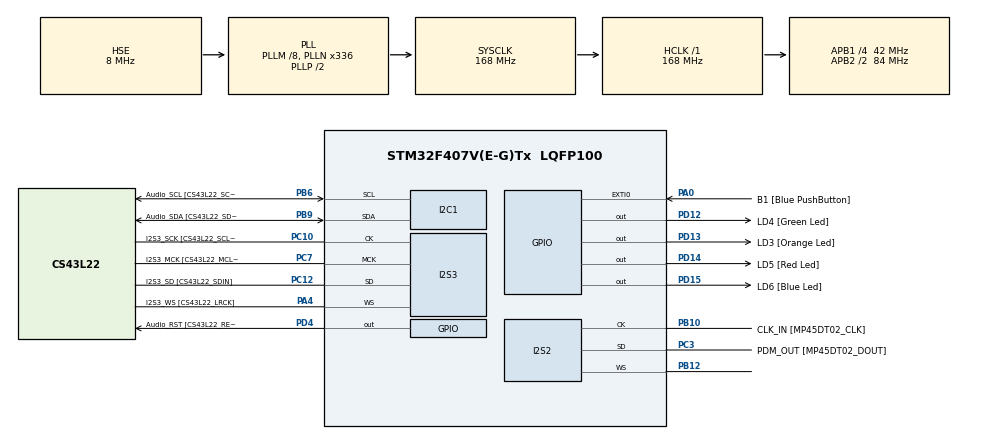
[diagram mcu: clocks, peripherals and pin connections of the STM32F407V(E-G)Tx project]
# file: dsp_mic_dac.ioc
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Dma.Request0=SPI3_TX
Dma.Request1=SPI2_RX
Dma.SPI2_RX.1.Direction=DMA_PERIPH_TO_MEMORY
Dma.SPI2_RX.1.FIFOMode=DMA_FIFOMODE_DISABLE
Dma.SPI2_RX.1.Instance=DMA1_Stream3
Dma.SPI2_RX.1.MemDataAlignment=DMA_MDATAALIGN_HALFWORD
Dma.SPI2_RX.1.MemInc=DMA_MINC_ENABLE
Dma.SPI2_RX.1.Mode=DMA_CIRCULAR
Dma.SPI2_RX.1.PeriphDataAlignment=DMA_PDATAALIGN_HALFWORD
Dma.SPI2_RX.1.PeriphInc=DMA_PINC_DISABLE
Dma.SPI2_RX.1.Priority=DMA_PRIORITY_HIGH
Dma.SPI3_TX.0.Direction=DMA_MEMORY_TO_PERIPH
Dma.SPI3_TX.0.FIFOMode=DMA_FIFOMODE_DISABLE
Dma.SPI3_TX.0.Instance=DMA1_Stream5
Dma.SPI3_TX.0.MemDataAlignment=DMA_MDATAALIGN_HALFWORD
Dma.SPI3_TX.0.MemInc=DMA_MINC_ENABLE
Dma.SPI3_TX.0.Mode=DMA_CIRCULAR
Dma.SPI3_TX.0.PeriphDataAlignment=DMA_PDATAALIGN_HALFWORD
Dma.SPI3_TX.0.PeriphInc=DMA_PINC_DISABLE
Dma.SPI3_TX.0.Priority=DMA_PRIORITY_LOW
I2S2.AudioFreq=I2S_AUDIOFREQ_48K
I2S2.CPOL=I2S_CPOL_LOW
I2S2.DataFormat=I2S_DATAFORMAT_16B
I2S2.ErrorAudioFreq=-0.79 %
I2S2.FullDuplexMode=I2S_FULLDUPLEXMODE_DISABLE
I2S2.Instance=SPI$Index
I2S2.Mode=I2S_MODE_SLAVE_RX
I2S2.RealAudioFreq=47.619 KHz
I2S2.Standard=I2S_STANDARD_MSB
I2S2.VirtualMode=I2S_MODE_SLAVE
I2S3.AudioFreq=I2S_AUDIOFREQ_48K
I2S3.AudioFreq-Half_Duplex_Master=I2S_AUDIOFREQ_96K
I2S3.DataFormat=I2S_DATAFORMAT_16B
I2S3.ErrorAudioFreq=-2.34 %
I2S3.ErrorAudioFreq-Half_Duplex_Master=0.8 %
I2S3.FullDuplexMode=I2S_FULLDUPLEXMODE_DISABLE
I2S3.Instance=SPI$Index
I2S3.RealAudioFreq=46.875 KHz
I2S3.RealAudioFreq-Half_Duplex_Master=96.774 KHz
I2S3.VirtualMode=I2S_MODE_MASTER
Mcu.Family=STM32F4
Mcu.Name=STM32F407V(E-G)Tx
Mcu.Package=LQFP100
NVIC.DMA1_Stream3_IRQn=true\:0\:0\:false\:false\:true\:false\:true\:true
NVIC.DMA1_Stream5_IRQn=true\:0\:0\:false\:false\:true\:false\:true\:true
NVIC.PriorityGroup=NVIC_PRIORITYGROUP_0
PA0-WKUP.GPIO_Label=B1 [Blue PushButton]
PA0-WKUP.GPIO_ModeDefaultEXTI=GPIO_MODE_EVT_RISING
PA0-WKUP.GPIO_PuPd=GPIO_NOPULL
PA0-WKUP.Signal=GPXTI0
PA13.GPIO_Label=SWDIO
PA13.Mode=Serial_Wire
PA13.Signal=SYS_JTMS-SWDIO
PA14.GPIO_Label=SWCLK
PA14.Mode=Serial_Wire
PA14.Signal=SYS_JTCK-SWCLK
PA4.GPIO_Label=I2S3_WS [CS43L22_LRCK]
PA4.GPIO_Mode=GPIO_MODE_AF_PP
PA4.GPIO_PuPd=GPIO_NOPULL
PA4.GPIO_Speed=GPIO_SPEED_FREQ_LOW
PA4.Mode=Half_Duplex_Master
PA4.Signal=I2S3_WS
PB10.GPIO_Label=CLK_IN [MP45DT02_CLK]
PB10.GPIO_Mode=GPIO_MODE_AF_PP
PB10.GPIO_PuPd=GPIO_NOPULL
PB10.GPIO_Speed=GPIO_SPEED_FREQ_LOW
PB10.Mode=Half_Duplex_Slave
PB10.Signal=I2S2_CK
PB12.Mode=Half_Duplex_Slave
PB12.Signal=I2S2_WS
PB6.GPIO_Label=Audio_SCL [CS43L22_SCL]
PB6.GPIO_Mode=GPIO_MODE_AF_OD
PB6.GPIO_Pu=GPIO_PULLUP
PB6.GPIO_PuPd=GPIO_NOPULL
PB6.GPIO_Speed=GPIO_SPEED_FREQ_LOW
PB6.Mode=I2C
PB6.Signal=I2C1_SCL
PB9.GPIO_Label=Audio_SDA [CS43L22_SDA]
PB9.GPIO_Mode=GPIO_MODE_AF_OD
PB9.GPIO_Pu=GPIO_PULLUP
PB9.GPIO_PuPd=GPIO_NOPULL
PB9.GPIO_Speed=GPIO_SPEED_FREQ_LOW
PB9.Mode=I2C
PB9.Signal=I2C1_SDA
PC10.GPIO_Label=I2S3_SCK [CS43L22_SCLK]
PC10.GPIO_Mode=GPIO_MODE_AF_PP
PC10.GPIO_PuPd=GPIO_NOPULL
PC10.GPIO_Speed=GPIO_SPEED_FREQ_LOW
PC10.Mode=Half_Duplex_Master
PC10.Signal=I2S3_CK
PC12.GPIO_Label=I2S3_SD [CS43L22_SDIN]
PC12.GPIO_Mode=GPIO_MODE_AF_PP
PC12.GPIO_PuPd=GPIO_NOPULL
PC12.GPIO_Speed=GPIO_SPEED_FREQ_LOW
PC12.Mode=Half_Duplex_Master
PC12.Signal=I2S3_SD
PC3.GPIO_Label=PDM_OUT [MP45DT02_DOUT]
PC3.GPIO_Mode=GPIO_MODE_AF_PP
PC3.GPIO_PuPd=GPIO_NOPULL
PC3.GPIO_Speed=GPIO_SPEED_FREQ_LOW
PC3.Mode=Half_Duplex_Slave
PC3.Signal=I2S2_SD
PC7.GPIO_Label=I2S3_MCK [CS43L22_MCLK]
PC7.GPIO_Mode=GPIO_MODE_AF_PP
PC7.GPIO_PuPd=GPIO_NOPULL
PC7.GPIO_Speed=GPIO_SPEED_FREQ_LOW
PC7.Mode=Master_Clock_Activated
PC7.Signal=I2S3_MCK
PD12.GPIO_Label=LD4 [Green Led]
PD12.GPIO_PuPd=GPIO_NOPULL
PD12.GPIO_Speed=GPIO_SPEED_FREQ_LOW
PD12.Signal=GPIO_Output
PD13.GPIO_Label=LD3 [Orange Led]
PD13.GPIO_PuPd=GPIO_NOPULL
PD13.GPIO_Speed=GPIO_SPEED_FREQ_LOW
PD13.Signal=GPIO_Output
PD14.GPIO_Label=LD5 [Red Led]
PD14.GPIO_PuPd=GPIO_NOPULL
PD14.GPIO_Speed=GPIO_SPEED_FREQ_LOW
PD14.Signal=GPIO_Output
PD15.GPIO_Label=LD6 [Blue Led]
PD15.GPIO_PuPd=GPIO_NOPULL
PD15.GPIO_Speed=GPIO_SPEED_FREQ_LOW
PD15.Signal=GPIO_Output
PD4.GPIO_Label=Audio_RST [CS43L22_RESET]
PD4.GPIO_PuPd=GPIO_NOPULL
PD4.GPIO_Speed=GPIO_SPEED_FREQ_LOW
PD4.Signal=GPIO_Output
PDM2PCM.CHANNEL1_decimation_factor=PDM_FILTER_DEC_FACTOR_32
PDM2PCM.CHANNEL1_endianness=PDM_FILTER_ENDIANNESS_BE
PDM2PCM.CHANNEL1_in_ptr_channels=1
PDM2PCM.CHANNEL1_mic_gain=24
PDM2PCM.CHANNEL1_out_ptr_channels=1
PDM2PCM.CHANNEL1_output_samples_number=48
PH0-OSC_IN.GPIO_Label=PH0-OSC_IN
PH0-OSC_IN.Mode=HSE-External-Oscillator
PH0-OSC_IN.Signal=RCC_OSC_IN
PH1-OSC_OUT.GPIO_Label=PH1-OSC_OUT
PH1-OSC_OUT.Mode=HSE-External-Oscillator
PH1-OSC_OUT.Signal=RCC_OSC_OUT
ProjectManager.HeapSize=0x200
ProjectManager.StackSize=0x400
ProjectManager.TargetToolchain=STM32CubeIDE
RCC.48MHZClocksFreq_Value=48000000
RCC.AHBFreq_Value=168000000
RCC.APB1CLKDivider=RCC_HCLK_DIV4
RCC.APB1Freq_Value=42000000
RCC.APB1TimFreq_Value=84000000
RCC.APB2CLKDivider=RCC_HCLK_DIV2
RCC.APB2Freq_Value=84000000
RCC.APB2TimFreq_Value=168000000
RCC.CortexFreq_Value=168000000
RCC.HCLKFreq_Value=168000000
RCC.HSE_VALUE=8000000
RCC.HSI_VALUE=16000000
RCC.LSE_VALUE=32768
RCC.PLLM=8
RCC.PLLN=336
RCC.PLLQ=7
RCC.PLLSourceVirtual=RCC_PLLSOURCE_HSE
RCC.SYSCLKFreq_VALUE=168000000
RCC.SYSCLKSource=RCC_SYSCLKSOURCE_PLLCLK
RCC.VCOOutputFreq_Value=336000000
VP_CRC_VS_CRC.Mode=CRC_Activate
VP_PDM2PCM_VS_PDM2PCM.Mode=PDM2PCM_Channel
board=STM32F407G-DISC1

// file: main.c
/* USER CODE BEGIN Header */
/**
  ******************************************************************************
  * @file           : main.c
  * @brief          : Main program body
  ******************************************************************************
  * @attention
  *
  * Copyright (c) 2025 STMicroelectronics.
  * All rights reserved.
  *
  * This software is licensed under terms that can be found in the LICENSE file
  * in the root directory of this software component.
  * If no LICENSE file comes with this software, it is provided AS-IS.
  *
  ******************************************************************************
  */
/* USER CODE END Header */
#include "main.h"
#include "crc.h"
#include "dma.h"
#include "i2c.h"
#include "i2s.h"
#include "pdm2pcm.h"
#include "gpio.h"

/* USER CODE BEGIN Includes */
#include "fifo.h"
#include "cs43l22.h"
#include <stdio.h>
/* USER CODE END Includes */

/* USER CODE BEGIN PD */
// Audio In/Out parameters
#define AUDIO_SAMPLE_RATE		(48000UL)
#define AUDIO_DATA_SIZE			(16UL)
#define AUDIO_FRAME_SIZE		(16UL)
#define AUDIO_NUM_IN_CHANNELS	(1UL)
#define AUDIO_NUM_OUT_CHANNELS	(2UL)

// Audio PDM to PCM parameters
#define AUDIO_DECIMATION_FACTOR	(32UL)
#define AUDIO_NUM_OUT_SAMPLES	(AUDIO_SAMPLE_RATE/1000UL) // 1ms pcm data
#define AUDIO_PDM_BUFFER_SIZE	(AUDIO_NUM_OUT_SAMPLES*AUDIO_NUM_IN_CHANNELS*AUDIO_DECIMATION_FACTOR/16)
#define AUDIO_PCM_BUFFER_SIZE	(AUDIO_NUM_OUT_SAMPLES*AUDIO_NUM_OUT_CHANNELS*AUDIO_FRAME_SIZE/16)

// Audio DMA Buffers
#define AUDIO_RX_DMA_BUFSIZE	(2*AUDIO_PDM_BUFFER_SIZE)
#define AUDIO_TX_DMA_BUFSIZE	(2*AUDIO_PCM_BUFFER_SIZE)

// Internal Flags
#define AUDIO_RX_HALFCPLT_STATE	(1)
#define AUDIO_RX_FULLCPLT_STATE	(2)
#define AUDIO_TX_HALFCPLT_STATE (1)
#define AUDIO_TX_FULLCPLT_STATE	(2)
/* USER CODE END PD */

/* USER CODE BEGIN PV */
uint16_t uAudioRxDmaBuffer[AUDIO_RX_DMA_BUFSIZE];
int16_t uAudioTxDmaBuffer[AUDIO_TX_DMA_BUFSIZE];
int16_t uPcmBuffer[AUDIO_NUM_OUT_SAMPLES];
volatile uint8_t ucAudioRxDmaState = 0;	// Flag for RX DMA buffer full status
volatile uint8_t ucAudioTxDmaState = 0;	// Flag for TX DMA buffer full status
int16_t uPcmValue = 0;
/* USER CODE END PV */

void SystemClock_Config(void);
void PeriphCommonClock_Config(void);
/* USER CODE BEGIN PFP */
// To enable printf function on debugging
int _write(int file, char *ptr, int len)
{
  UNUSED(file);
  int DataIdx;

  for (DataIdx = 0; DataIdx < len; DataIdx++)
  {
    ITM_SendChar(*ptr++);
  }
  return len;
}

/*
 * This function is called when a new block of AUDIO_NUM_OUT_SAMPLES
 * PCM samples is received.
 */
void AudioProcessCallback(int16_t *micData, uint16_t numSamples)
{
	for(int n = 0; n < numSamples; n++)
	{
		uPcmValue = micData[n];
	}
}
/* USER CODE END PFP */

int main(void)
{

  /* MCU Configuration--------------------------------------------------------*/

  /* Reset of all peripherals, Initializes the Flash interface and the Systick. */
  HAL_Init();

  /* Configure the system clock */
  SystemClock_Config();

  /* Configure the peripherals common clocks */
  PeriphCommonClock_Config();

  /* Initialize all configured peripherals */
  MX_GPIO_Init();
  MX_DMA_Init();
  MX_I2C1_Init();
  MX_I2S3_Init();
  MX_I2S2_Init();
  MX_CRC_Init();
  MX_PDM2PCM_Init();
  /* USER CODE BEGIN 2 */
  // Audio Codec CS43L22 init
  if(HAL_CS43L22_Init(&hi2c1, CS43L22_MODE_I2S) != HAL_OK)
  {
	  // If error, toggle RED led on STM32F407G-DISC1
	  while(1)
	  {
		  HAL_GPIO_TogglePin(GPIOD, GPIO_PIN_14);
		  HAL_Delay(500);
	  }
  }
  HAL_CS43L22_Set_BPS(CS43L22_BPS_16_BITS);
  HAL_CS43L22_Set_Channel(CS43L22_CHANNEL_RIGHT_LEFT);
  HAL_CS43L22_Set_OutputDevice(CS43L22_OUTPUT_HEADPHONE);
  HAL_CS43L22_Set_Volume(50);
  HAL_CS43L22_Start();

  // PCM Fifo init
  int16_t PcmFifoBuffer[AUDIO_TX_DMA_BUFSIZE*2]; // At least twice the TX DMA buffer size
  Fifo_t mPcmFifo;
  FIFO_Init(&mPcmFifo, PcmFifoBuffer, AUDIO_TX_DMA_BUFSIZE*2);

  // Start I2S audio transmission(DAC)/reception(Mic) DMA service
  HAL_I2S_Transmit_DMA(&hi2s3, (uint16_t*) uAudioTxDmaBuffer, AUDIO_TX_DMA_BUFSIZE / (AUDIO_FRAME_SIZE/16UL));
  HAL_I2S_Receive_DMA(&hi2s2,  uAudioRxDmaBuffer, AUDIO_RX_DMA_BUFSIZE / (AUDIO_FRAME_SIZE/16UL));
  /* USER CODE END 2 */

  /* Infinite loop */
  /* USER CODE BEGIN WHILE */
  while (1)
  {
	  // IMP34DT05 PDM Microphone --------------------------------------------------
	  if(ucAudioRxDmaState == AUDIO_RX_HALFCPLT_STATE)
	  {
		  // Clear the flag
		  ucAudioRxDmaState = 0;

		  // Convert the first half PDM DMA buffer to PCM
		  PDM_Filter(&uAudioRxDmaBuffer[0], &uPcmBuffer[0], &PDM1_filter_handler);

		  /* Data can be processed here */
		  AudioProcessCallback(uPcmBuffer, AUDIO_NUM_OUT_SAMPLES);
		  /* -------------------------- */

		  // Store into a FIFO for transmission
		  FIFO_WriteBlock(&mPcmFifo, uPcmBuffer, AUDIO_NUM_OUT_SAMPLES);
	  }
	  if(ucAudioRxDmaState == AUDIO_RX_FULLCPLT_STATE)
	  {
		  // Clear the flag
		  ucAudioRxDmaState = 0;

		  // Convert the second half PDM DMA buffer to PCM
		  PDM_Filter(&uAudioRxDmaBuffer[AUDIO_PDM_BUFFER_SIZE], &uPcmBuffer[0], &PDM1_filter_handler);

		  /* Data can be processed here -------------------------------*/
		  AudioProcessCallback(uPcmBuffer, AUDIO_NUM_OUT_SAMPLES);
		  /* --------------------------------------------------------- */

		  // Store into a FIFO for transmission
		  FIFO_WriteBlock(&mPcmFifo, uPcmBuffer, AUDIO_NUM_OUT_SAMPLES);
	  }

	  // CS43L22 DAC Codec --------------------------------------------
	  if(ucAudioTxDmaState == AUDIO_TX_HALFCPLT_STATE)
	  {
		  // Clear the flag
		  ucAudioTxDmaState = 0;

		  // Check if there is at least a full PCM output buffer
		  if(mPcmFifo.numel >= AUDIO_PCM_BUFFER_SIZE)
		  {
			  for (int i = 0; i < AUDIO_PCM_BUFFER_SIZE; i=i+(2*AUDIO_FRAME_SIZE/16))
			  {
				// Read data from the FIFO
				int16_t value = 0;
				FIFO_Read(&mPcmFifo, &value);

				// Duplicate output channel for stereo sound
				uAudioTxDmaBuffer[i] = value;							// Right channel
				uAudioTxDmaBuffer[i + (AUDIO_FRAME_SIZE/16)] = value;	// Left channel
			 }
		  }
	  }
	  if(ucAudioTxDmaState == AUDIO_TX_FULLCPLT_STATE)
	  {
		  // Clear the flag
		  ucAudioTxDmaState = 0;

		  // Check if there is at least a full PCM output buffer
		  if(mPcmFifo.numel >= AUDIO_PCM_BUFFER_SIZE)
		  {
			  for (int i=AUDIO_PCM_BUFFER_SIZE; i < 2*AUDIO_PCM_BUFFER_SIZE; i=i+(2*AUDIO_FRAME_SIZE/16))
			  {
				  // Read data from the FIFO
				  int16_t value = 0;
				  FIFO_Read(&mPcmFifo, &value);

				  // Duplicate output channel for stereo sound
				  uAudioTxDmaBuffer[i] = value;							// Right channel
				  uAudioTxDmaBuffer[i + (AUDIO_FRAME_SIZE/16)] = value;	// Left channel
			  }
		  }
	  }
    /* USER CODE END WHILE */

  }
}

void SystemClock_Config(void)
{
  RCC_OscInitTypeDef RCC_OscInitStruct = {0};
  RCC_ClkInitTypeDef RCC_ClkInitStruct = {0};

  /** Configure the main internal regulator output voltage
  */
  __HAL_RCC_PWR_CLK_ENABLE();
  __HAL_PWR_VOLTAGESCALING_CONFIG(PWR_REGULATOR_VOLTAGE_SCALE1);

  /** Initializes the RCC Oscillators according to the specified parameters
  * in the RCC_OscInitTypeDef structure.
  */
  RCC_OscInitStruct.OscillatorType = RCC_OSCILLATORTYPE_HSE;
  RCC_OscInitStruct.HSEState = RCC_HSE_ON;
  RCC_OscInitStruct.PLL.PLLState = RCC_PLL_ON;
  RCC_OscInitStruct.PLL.PLLSource = RCC_PLLSOURCE_HSE;
  RCC_OscInitStruct.PLL.PLLM = 8;
  RCC_OscInitStruct.PLL.PLLN = 336;
  RCC_OscInitStruct.PLL.PLLP = RCC_PLLP_DIV2;
  RCC_OscInitStruct.PLL.PLLQ = 7;
  if (HAL_RCC_OscConfig(&RCC_OscInitStruct) != HAL_OK)
  {
    Error_Handler();
  }

  /** Initializes the CPU, AHB and APB buses clocks
  */
  RCC_ClkInitStruct.ClockType = RCC_CLOCKTYPE_HCLK|RCC_CLOCKTYPE_SYSCLK
                              |RCC_CLOCKTYPE_PCLK1|RCC_CLOCKTYPE_PCLK2;
  RCC_ClkInitStruct.SYSCLKSource = RCC_SYSCLKSOURCE_PLLCLK;
  RCC_ClkInitStruct.AHBCLKDivider = RCC_SYSCLK_DIV1;
  RCC_ClkInitStruct.APB1CLKDivider = RCC_HCLK_DIV4;
  RCC_ClkInitStruct.APB2CLKDivider = RCC_HCLK_DIV2;

  if (HAL_RCC_ClockConfig(&RCC_ClkInitStruct, FLASH_LATENCY_5) != HAL_OK)
  {
    Error_Handler();
  }
}

void PeriphCommonClock_Config(void)
{
  RCC_PeriphCLKInitTypeDef PeriphClkInitStruct = {0};

  /** Initializes the peripherals clock
  */
  PeriphClkInitStruct.PeriphClockSelection = RCC_PERIPHCLK_I2S;
  PeriphClkInitStruct.PLLI2S.PLLI2SN = 192;
  PeriphClkInitStruct.PLLI2S.PLLI2SR = 2;
  if (HAL_RCCEx_PeriphCLKConfig(&PeriphClkInitStruct) != HAL_OK)
  {
    Error_Handler();
  }
}

/* USER CODE BEGIN 4 */
// IMP34DT05 DMA Interrupts ==============================================
void HAL_I2S_RxHalfCpltCallback (I2S_HandleTypeDef *hi2s)
{
	// The first half DMA buffer was filled and is ready to process
	// The second half DMA buffer is currently filling
	ucAudioRxDmaState = AUDIO_RX_HALFCPLT_STATE;
}

void HAL_I2S_RxCpltCallback (I2S_HandleTypeDef *hi2s)
{
	// The second half dma buffer was filled and is ready to process
	// The first half DMA buffer is currently filling
	ucAudioRxDmaState = AUDIO_RX_FULLCPLT_STATE;
}

// CS43L22 DMA Interrupts ==============================================
void HAL_I2S_TxHalfCpltCallback (I2S_HandleTypeDef *hi2s)
{
	// The first half DMA buffer is available for writing
	// The second half DMA buffer is currently transmitting
	ucAudioTxDmaState = AUDIO_TX_HALFCPLT_STATE;
}

void HAL_I2S_TxCpltCallback (I2S_HandleTypeDef *hi2s)
{
	// The second half DMA buffer is available for writing
	// The first half DMA buffer is currently transmitting
	ucAudioTxDmaState = AUDIO_TX_FULLCPLT_STATE;
}
/* USER CODE END 4 */

void Error_Handler(void)
{
  __disable_irq();
  while (1)
  {
  }
}
